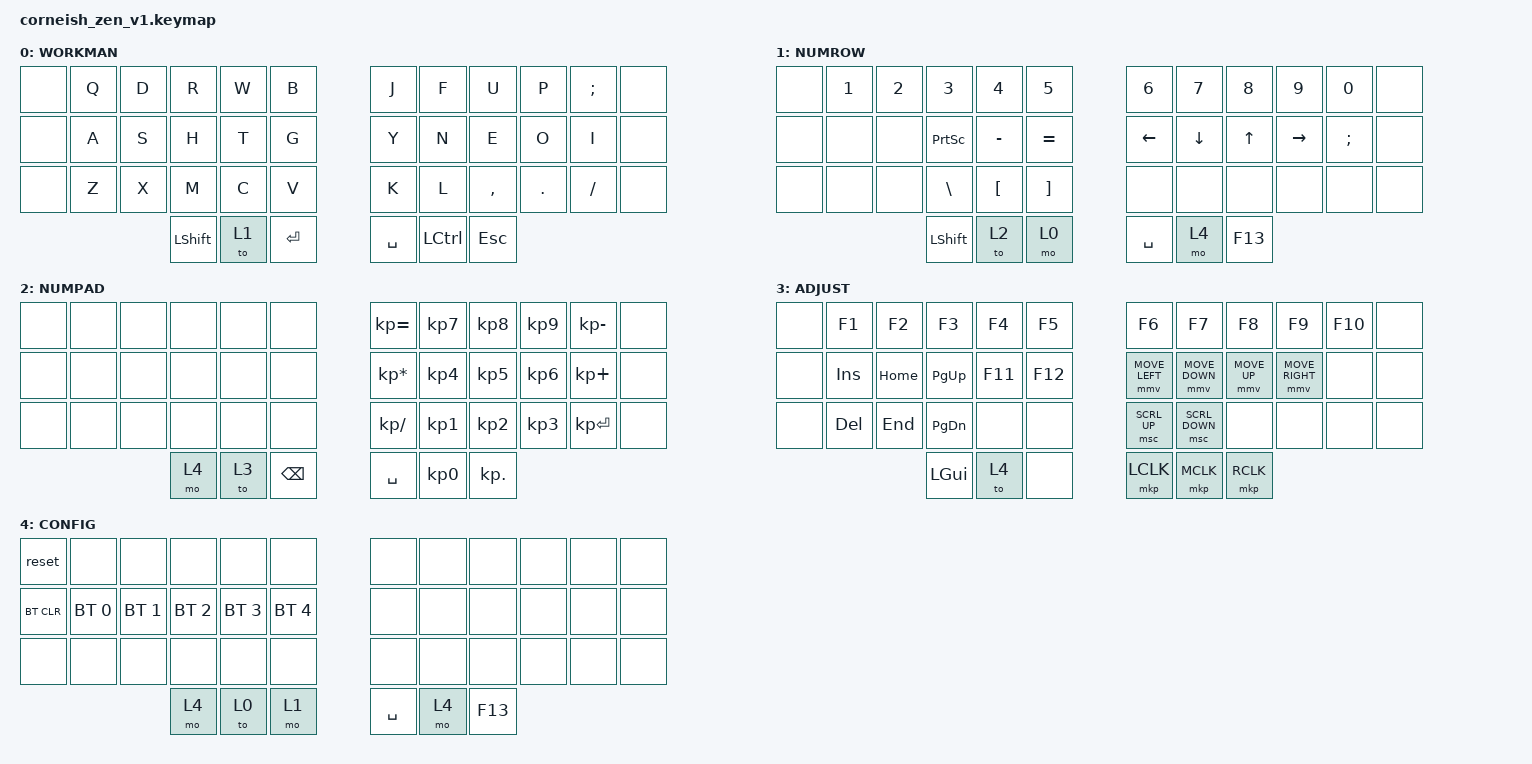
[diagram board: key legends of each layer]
#include <behaviors.dtsi>
#include <dt-bindings/zmk/bt.h>
#include <dt-bindings/zmk/keys.h>
#include <dt-bindings/zmk/pointing.h>

#define WORKMAN 0
#define NUMROW 1
#define NUMPAD 2
#define ADJUST 3
#define CONFIG 4

/{
    chosen {
        // zmk,physical-layout = &foostan_corne_6col_layout;
        zmk,physical-layout = &foostan_corne_5col_layout;
    };
};

/ {
    combos {
        compatible = "zmk,combos";

        Tab {
            bindings = <&kp TAB>;
            key-positions = <41 39>;
        };

        Caps {
            bindings = <&kp CAPS>;
            key-positions = <41 38>;
        };
    };

    keymap {
        compatible = "zmk,keymap";

        default_layer {
            display-name = "WORKMAN";
            label = "WORKMAN";
            bindings = <
&none  &kp Q  &kp D  &kp R           &kp W  &kp B        &kp J      &kp F      &kp U       &kp P       &kp SEMICOLON  &none
&none  &kp A  &kp S  &kp H           &kp T  &kp G        &kp Y      &kp N      &kp E       &kp O       &kp I          &none
&none  &kp Z  &kp X  &kp M           &kp C  &kp V        &kp K      &kp L      &kp COMMA   &kp PERIOD  &kp SLASH      &none
                     &kp LEFT_SHIFT  &to 1  &kp ENTER    &kp SPACE  &kp LCTRL  &kp ESCAPE
            >;
        };

        numrow_layer {
            label = "NUMROW";
            bindings = <
&none  &kp N1  &kp N2  &kp N3          &kp N4     &kp N5       &kp N6    &kp N7    &kp N8   &kp N9     &kp N0    &none
&none  &none   &none   &kp PSCRN       &kp MINUS  &kp EQUAL    &kp LEFT  &kp DOWN  &kp UP   &kp RIGHT  &kp SEMI  &none
&none  &none   &none   &kp BSLH        &kp LBKT   &kp RBKT     &none     &none     &none    &none      &none     &none
                       &kp LEFT_SHIFT  &to 2      &mo 0        &kp SPC   &mo 4     &kp F13
            >;
        };

        numpad_layer {
            label = "NUMPAD";
            bindings = <
&none  &none  &none  &none  &none  &none            &kp KP_EQUAL     &kp KP_N7  &kp KP_N8   &kp KP_N9  &kp KP_MINUS  &none
&none  &none  &none  &none  &none  &none            &kp KP_ASTERISK  &kp KP_N4  &kp KP_N5   &kp KP_N6  &kp KP_PLUS   &none
&none  &none  &none  &none  &none  &none            &kp KP_SLASH     &kp KP_N1  &kp KP_N2   &kp KP_N3  &kp KP_ENTER  &none
                     &mo 4  &to 3  &kp BACKSPACE    &kp SPC          &kp KP_N0  &kp KP_DOT
            >;
        };

        adjust_layer {
            label = "ADJUST";
            bindings = <
&none  &kp F1   &kp F2    &kp F3     &kp F4   &kp F5     &kp F6          &kp F7          &kp F8        &kp F9           &kp F10  &none
&none  &kp INS  &kp HOME  &kp PG_UP  &kp F11  &kp F12    &mmv MOVE_LEFT  &mmv MOVE_DOWN  &mmv MOVE_UP  &mmv MOVE_RIGHT  &none    &none
&none  &kp DEL  &kp END   &kp PG_DN  &none    &none      &msc SCRL_UP    &msc SCRL_DOWN  &none         &none            &none    &none
                          &kp LGUI   &to 4    &none      &mkp LCLK       &mkp MCLK       &mkp RCLK
            >;
        };

        config_layer {
            label = "CONFIG";
            bindings = <
&reset      &none         &none         &none         &none         &none           &none    &none  &none    &none  &none  &none
&bt BT_CLR  &bt BT_SEL 0  &bt BT_SEL 1  &bt BT_SEL 2  &bt BT_SEL 3  &bt BT_SEL 4    &none    &none  &none    &none  &none  &none
&none       &none         &none         &none         &none         &none           &none    &none  &none    &none  &none  &none
                                        &mo 4         &to 0         &mo 1           &kp SPC  &mo 4  &kp F13
            >;
        };
    };
};
